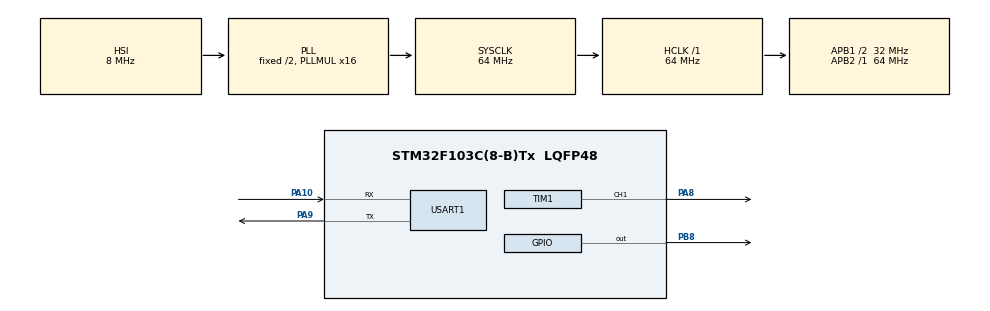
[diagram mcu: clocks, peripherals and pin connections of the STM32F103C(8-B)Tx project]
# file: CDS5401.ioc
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Mcu.Family=STM32F1
Mcu.Name=STM32F103C(8-B)Tx
Mcu.Package=LQFP48
NVIC.PriorityGroup=NVIC_PRIORITYGROUP_4
PA10.Mode=Asynchronous
PA10.Signal=USART1_RX
PA13.Mode=JTAG_5_pins
PA13.Signal=SYS_JTMS-SWDIO
PA14.Mode=JTAG_5_pins
PA14.Signal=SYS_JTCK-SWCLK
PA15.Mode=JTAG_5_pins
PA15.Signal=SYS_JTDI
PA8.Signal=S_TIM1_CH1
PA9.Mode=Asynchronous
PA9.Signal=USART1_TX
PB3.Mode=JTAG_5_pins
PB3.Signal=SYS_JTDO-TRACESWO
PB4.Mode=JTAG_5_pins
PB4.Signal=SYS_NJTRST
PB8.Signal=GPIO_Output
PD0-OSC_IN.Mode=HSE-External-Oscillator
PD0-OSC_IN.Signal=RCC_OSC_IN
PD1-OSC_OUT.Mode=HSE-External-Oscillator
PD1-OSC_OUT.Signal=RCC_OSC_OUT
ProjectManager.HeapSize=0x200
ProjectManager.StackSize=0x400
ProjectManager.TargetToolchain=EWARM
RCC.AHBFreq_Value=64000000
RCC.APB1CLKDivider=RCC_HCLK_DIV2
RCC.APB1Freq_Value=32000000
RCC.APB1TimFreq_Value=64000000
RCC.APB2Freq_Value=64000000
RCC.APB2TimFreq_Value=64000000
RCC.HCLKFreq_Value=64000000
RCC.PLLMUL=RCC_PLL_MUL16
RCC.SYSCLKFreq_VALUE=64000000
RCC.SYSCLKSource=RCC_SYSCLKSOURCE_PLLCLK
RCC.USBFreq_Value=64000000
SH.S_TIM1_CH1.0=TIM1_CH1,PWM Generation1 CH1
TIM1.Channel-PWM\ Generation1\ CH1=TIM_CHANNEL_1
TIM1.OCFastMode_PWM-PWM\ Generation1\ CH1=TIM_OCFAST_ENABLE
TIM1.Period=199
TIM1.Prescaler=6400
TIM1.Pulse-PWM\ Generation1\ CH1=15
USART1.VirtualMode=VM_ASYNC
VP_TIM1_VS_ClockSourceINT.Mode=Internal
board=CDS5401

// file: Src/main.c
/**
  ******************************************************************************
  * File Name          : main.c
  * Description        : Main program body
  ******************************************************************************
  ** This notice applies to any and all portions of this file
  * that are not between comment pairs USER CODE BEGIN and
  * USER CODE END. Other portions of this file, whether
  * inserted by the user or by software development tools
  * are owned by their respective copyright owners.
  *
  * COPYRIGHT(c) 2017 STMicroelectronics
  *
  * Redistribution and use in source and binary forms, with or without modification,
  * are permitted provided that the following conditions are met:
  *   1. Redistributions of source code must retain the above copyright notice,
  *      this list of conditions and the following disclaimer.
  *   2. Redistributions in binary form must reproduce the above copyright notice,
  *      this list of conditions and the following disclaimer in the documentation
  *      and/or other materials provided with the distribution.
  *   3. Neither the name of STMicroelectronics nor the names of its contributors
  *      may be used to endorse or promote products derived from this software
  *      without specific prior written permission.
  *
  * THIS SOFTWARE IS PROVIDED BY THE COPYRIGHT HOLDERS AND CONTRIBUTORS "AS IS"
  * AND ANY EXPRESS OR IMPLIED WARRANTIES, INCLUDING, BUT NOT LIMITED TO, THE
  * IMPLIED WARRANTIES OF MERCHANTABILITY AND FITNESS FOR A PARTICULAR PURPOSE ARE
  * DISCLAIMED. IN NO EVENT SHALL THE COPYRIGHT HOLDER OR CONTRIBUTORS BE LIABLE
  * FOR ANY DIRECT, INDIRECT, INCIDENTAL, SPECIAL, EXEMPLARY, OR CONSEQUENTIAL
  * DAMAGES (INCLUDING, BUT NOT LIMITED TO, PROCUREMENT OF SUBSTITUTE GOODS OR
  * SERVICES; LOSS OF USE, DATA, OR PROFITS; OR BUSINESS INTERRUPTION) HOWEVER
  * CAUSED AND ON ANY THEORY OF LIABILITY, WHETHER IN CONTRACT, STRICT LIABILITY,
  * OR TORT (INCLUDING NEGLIGENCE OR OTHERWISE) ARISING IN ANY WAY OUT OF THE USE
  * OF THIS SOFTWARE, EVEN IF ADVISED OF THE POSSIBILITY OF SUCH DAMAGE.
  *
  ******************************************************************************
  */

#include "main.h"
#include "stm32f1xx_hal.h"
#include "tim.h"
#include "usart.h"
#include "gpio.h"

/* USER CODE BEGIN PV */
/* Private variables ---------------------------------------------------------*/

/* USER CODE END PV */

void SystemClock_Config(void);

/* USER CODE BEGIN PFP */
/* Private function prototypes -----------------------------------------------*/

/* USER CODE END PFP */

int main(void)
{

  /* MCU Configuration----------------------------------------------------------*/

  /* Reset of all peripherals, Initializes the Flash interface and the Systick. */
  HAL_Init();

  /* Configure the system clock */
  SystemClock_Config();

  /* Initialize all configured peripherals */
  MX_GPIO_Init();
  MX_USART1_UART_Init();
  MX_TIM1_Init();

  /* USER CODE BEGIN 2 */

    printf("Hello world!\r\n");

    if(HAL_TIM_PWM_Start(&htim1, TIM_CHANNEL_1)!=HAL_OK)
    {
        printf("PWM Init error!\r\n");
    }
  /* USER CODE END 2 */

  /* Infinite loop */
  while (1)
  {

  /* USER CODE BEGIN 3 */

      __HAL_TIM_SET_COMPARE(&htim1, TIM_CHANNEL_1, 5);
      HAL_Delay(1000);
      __HAL_TIM_SET_COMPARE(&htim1, TIM_CHANNEL_1, 10);
      HAL_Delay(1000);
      __HAL_TIM_SET_COMPARE(&htim1, TIM_CHANNEL_1, 15);
      HAL_Delay(1000);
      __HAL_TIM_SET_COMPARE(&htim1, TIM_CHANNEL_1, 20);
      HAL_Delay(1000);
      __HAL_TIM_SET_COMPARE(&htim1, TIM_CHANNEL_1, 25);
      HAL_Delay(1000);

      HAL_GPIO_WritePin(GPIOB, GPIO_PIN_8, GPIO_PIN_SET);
      HAL_Delay(100);
      HAL_GPIO_WritePin(GPIOB, GPIO_PIN_8, GPIO_PIN_RESET);
      HAL_Delay(100);
  }
  /* USER CODE END 3 */

}

/** System Clock Configuration
*/
void SystemClock_Config(void)
{

  RCC_OscInitTypeDef RCC_OscInitStruct;
  RCC_ClkInitTypeDef RCC_ClkInitStruct;

    /**Initializes the CPU, AHB and APB busses clocks
    */
  RCC_OscInitStruct.OscillatorType = RCC_OSCILLATORTYPE_HSI;
  RCC_OscInitStruct.HSIState = RCC_HSI_ON;
  RCC_OscInitStruct.HSICalibrationValue = 16;
  RCC_OscInitStruct.PLL.PLLState = RCC_PLL_ON;
  RCC_OscInitStruct.PLL.PLLSource = RCC_PLLSOURCE_HSI_DIV2;
  RCC_OscInitStruct.PLL.PLLMUL = RCC_PLL_MUL16;
  if (HAL_RCC_OscConfig(&RCC_OscInitStruct) != HAL_OK)
  {
    _Error_Handler(__FILE__, __LINE__);
  }

    /**Initializes the CPU, AHB and APB busses clocks
    */
  RCC_ClkInitStruct.ClockType = RCC_CLOCKTYPE_HCLK|RCC_CLOCKTYPE_SYSCLK
                              |RCC_CLOCKTYPE_PCLK1|RCC_CLOCKTYPE_PCLK2;
  RCC_ClkInitStruct.SYSCLKSource = RCC_SYSCLKSOURCE_PLLCLK;
  RCC_ClkInitStruct.AHBCLKDivider = RCC_SYSCLK_DIV1;
  RCC_ClkInitStruct.APB1CLKDivider = RCC_HCLK_DIV2;
  RCC_ClkInitStruct.APB2CLKDivider = RCC_HCLK_DIV1;

  if (HAL_RCC_ClockConfig(&RCC_ClkInitStruct, FLASH_LATENCY_2) != HAL_OK)
  {
    _Error_Handler(__FILE__, __LINE__);
  }

    /**Configure the Systick interrupt time
    */
  HAL_SYSTICK_Config(HAL_RCC_GetHCLKFreq()/1000);

    /**Configure the Systick
    */
  HAL_SYSTICK_CLKSourceConfig(SYSTICK_CLKSOURCE_HCLK);

  /* SysTick_IRQn interrupt configuration */
  HAL_NVIC_SetPriority(SysTick_IRQn, 0, 0);
}

void _Error_Handler(char * file, int line)
{
  while(1)
  {
  }
}

/************************ (C) COPYRIGHT STMicroelectronics *****END OF FILE****/
